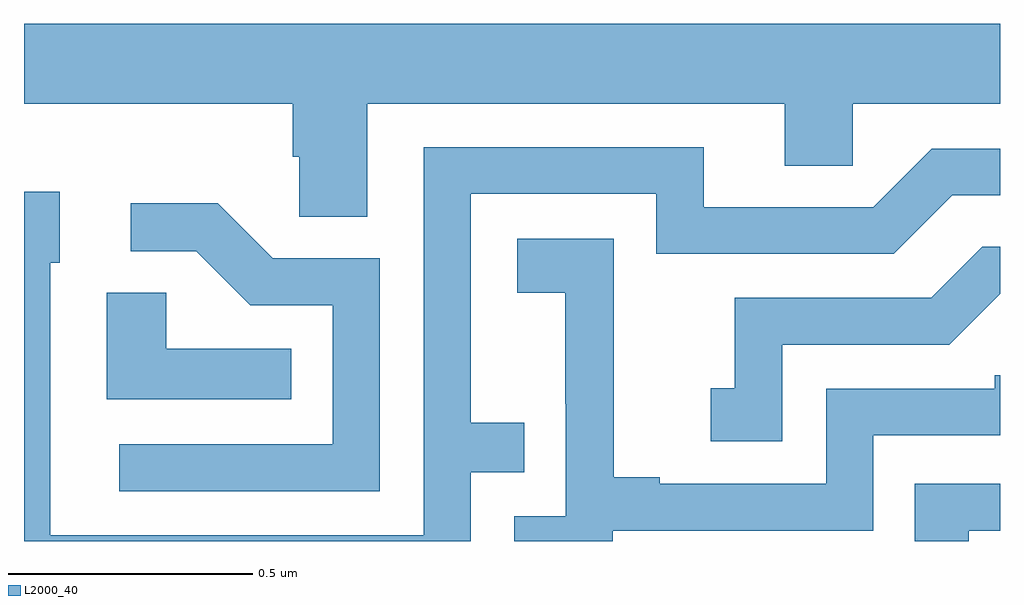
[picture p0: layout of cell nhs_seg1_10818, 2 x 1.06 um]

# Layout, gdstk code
import gdstk
lib = gdstk.Library(unit=1e-6, precision=1e-09)
def P(c, l, *ps):  # polygons
    for p in ps: c.add(gdstk.Polygon(p, *l))
L2000_40 = (2000, 40)

nhs_seg1_10818 = lib.new_cell('nhs_seg1_10818')
P(nhs_seg1_10818, L2000_40, [(246.703,521.096),(247.559,521.096),(247.559,520.969),(247.698,520.969),(247.698,521.096),(248,521.096),(248,521.26),(246,521.26),(246,521.096),(246.551,521.096),(246.551,520.987),(246.564,520.987),(246.564,520.864),(246.703,520.864)],
  [(246.915,520.341),(247.025,520.341),(247.025,520.442),(246.915,520.442),(246.915,520.911),(247.296,520.911),(247.296,520.788),(247.782,520.788),(247.902,520.908),(248,520.908),(248,521.004),(247.86,521.004),(247.74,520.884),(247.393,520.884),(247.393,521.007),(246.819,521.007),(246.819,520.212),(246.054,520.212),(246.054,520.77),(246.073,520.77),(246.073,520.915),(246,520.915),(246,520.199),(246.915,520.199)],
  [(246.729,520.779),(246.51,520.779),(246.397,520.892),(246.219,520.892),(246.219,520.794),(246.353,520.794),(246.464,520.683),(246.633,520.683),(246.633,520.398),(246.195,520.398),(246.195,520.302),(246.729,520.302)],
  [(247.206,520.221),(247.74,520.221),(247.74,520.416),(248,520.416),(248,520.539),(247.989,520.539),(247.989,520.512),(247.644,520.512),(247.644,520.317),(247.303,520.317),(247.303,520.33),(247.208,520.33),(247.208,520.613),(247.209,520.613),(247.209,520.819),(247.011,520.819),(247.011,520.709),(247.109,520.709),(247.109,520.481),(247.11,520.481),(247.11,520.251),(247.005,520.251),(247.005,520.199),(247.206,520.199)],
  [(247.554,520.602),(247.896,520.602),(248,520.706),(248,520.803),(247.964,520.803),(247.859,520.698),(247.456,520.698),(247.456,520.513),(247.407,520.513),(247.407,520.404),(247.554,520.404)],
  [(246.548,520.594),(246.291,520.594),(246.291,520.709),(246.17,520.709),(246.17,520.49),(246.548,520.49)],
  [(247.936,520.221),(248,520.221),(248,520.317),(247.825,520.317),(247.825,520.199),(247.936,520.199)])

lib.write_gds('nhs_seg1_10818.gds')
